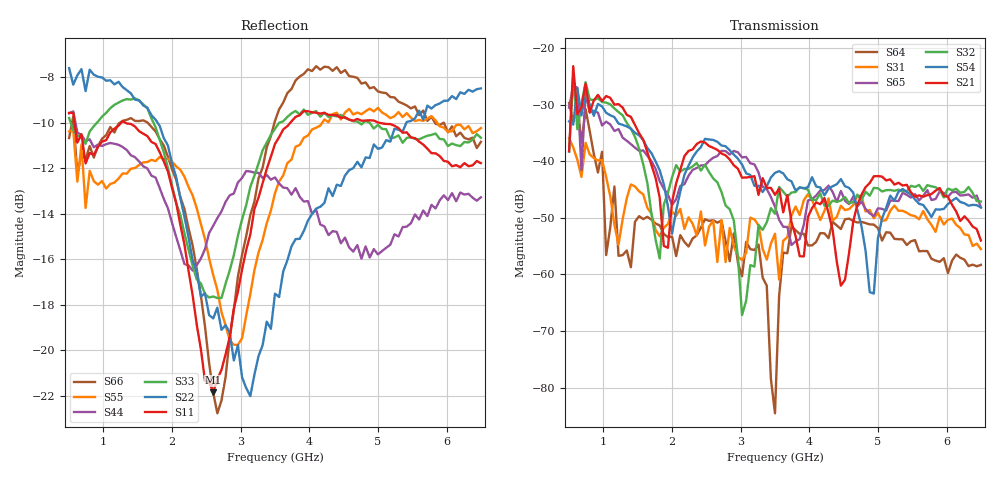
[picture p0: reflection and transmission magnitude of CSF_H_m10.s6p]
!Keysight Technologies,M9804A,MY58100912,A.14.10.03
!Date: Thursday, April 27, 2023 10:28:33
!Correction: S11(C  6-Port  )
!S12(C  6-Port  )
!S13(C  6-Port  )
!S14(C  6-Port  )
!S15(C  6-Port  )
!S16(C  6-Port  )
!S21(C  6-Port  )
!S22(C  6-Port  )
!S23(C  6-Port  )
!S24(C  6-Port  )
!S25(C  6-Port  )
!S26(C  6-Port  )
!S31(C  6-Port  )
!S32(C  6-Port  )
!S33(C  6-Port  )
!S34(C  6-Port  )
!S35(C  6-Port  )
!S36(C  6-Port  )
!S41(C  6-Port  )
!S42(C  6-Port  )
!S43(C  6-Port  )
!S44(C  6-Port  )
!S45(C  6-Port  )
!S46(C  6-Port  )
!S51(C  6-Port  )
!S52(C  6-Port  )
!S53(C  6-Port  )
!S54(C  6-Port  )
!S55(C  6-Port  )
!S56(C  6-Port  )
!S61(C  6-Port  )
!S62(C  6-Port  )
!S63(C  6-Port  )
!S64(C  6-Port  )
!S65(C  6-Port  )
!S66(C  6-Port  )
!S6P File: Measurement: :
# Hz S  RI  R 50
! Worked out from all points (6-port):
!   101 points, 500 MHz to 6.5 GHz, reference 50 ohm
!   strongest paths, dB at 500 MHz, 2 GHz, 3.5 GHz, 5 GHz, 6.5 GHz:
!     S21: -38.2, -47.2, -45.9, -42.6, -54.0
!     S54: -33.0, -52.8, -42.1, -53.6, -48.2
!     S32: -38.3, -42.8, -49.3, -44.8, -47.1
!     S65: -30.6, -47.7, -48.0, -48.3, -48.2
!     S31: -35.9, -48.9, -52.8, -49.1, -55.5
!     S64: -29.7, -53.3, -84.5, -51.8, -58.3
!   lowest |S11| = -21.9 dB at 2.6 GHz (marker M1), VSWR 1.18, Z = 42.8 + j1.96 ohm
!   |S11| at or under -10 dB: 580.1 MHz to 1.26 GHz (679.8 MHz wide, 73.9 % of centre); 1.32 GHz to 3.724 GHz (2.404 GHz wide, 95.3 % of centre); 5.019 GHz to end of sweep
